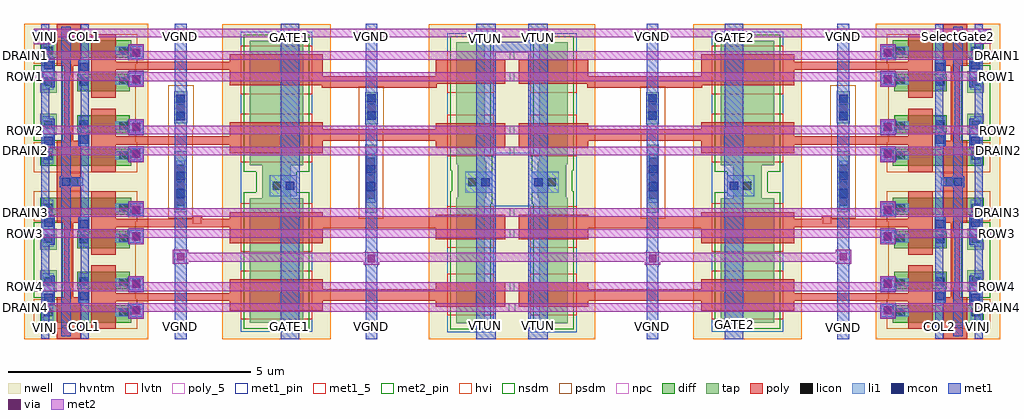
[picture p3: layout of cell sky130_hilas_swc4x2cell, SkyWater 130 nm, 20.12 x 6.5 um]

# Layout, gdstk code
from math import pi, radians
import gdstk
lib = gdstk.Library(unit=1e-6, precision=1e-09)
def R(c, l, rs):  # rectangles x0, y0, x1, y1
    for r in rs: c.add(gdstk.rectangle(r[:2], r[2:], *l))
def A(c, l, x, y, w, h, nx, ny, dx, dy):  # array of equal rectangles
    R(c, l, [(x+i*dx, y+j*dy, x+i*dx+w, y+j*dy+h) for i in range(nx) for j in range(ny)])
nwell = (64, 20)
diff = (65, 20)
tap = (65, 44)
poly_5 = (66, 5)
poly = (66, 20)
licon = (66, 44)
li1 = (67, 20)
mcon = (67, 44)
met1_5 = (68, 5)
met1_pin = (68, 16)
met1 = (68, 20)
via = (68, 44)
met2_pin = (69, 16)
met2 = (69, 20)
hvi = (75, 20)
nsdm = (93, 44)
psdm = (94, 20)
npc = (95, 20)
hvntm = (125, 20)
lvtn = (125, 44)

sky130_hilas_tuncap01 = lib.new_cell('sky130_hilas_TunCap01')
R(sky130_hilas_tuncap01, nwell, [(-14.51,-4,-12.78,-2.1)])
R(sky130_hilas_tuncap01, tap, [(-13.94,-3.67,-13.35,-2.47)])
R(sky130_hilas_tuncap01, poly, [(-14.36,-3.33,-12.93,-2.83)])
R(sky130_hilas_tuncap01, hvi, [(-14.51,-4,-12.78,-2.1)])
R(sky130_hilas_tuncap01, nsdm, [(-14.065,-3.795,-13.225,-2.345)])
R(sky130_hilas_tuncap01, hvntm, [(-14.125,-3.855,-13.165,-2.285)])
R(sky130_hilas_tuncap01, lvtn, [(-14.12,-3.51,-13.17,-2.65)])

sky130_hilas_fgvaractorc = lib.new_cell('sky130_hilas_FGVaractorCapacitor')
R(sky130_hilas_fgvaractorc, nwell, [(-9.57,-3.95,-7.34,-2.1)])
R(sky130_hilas_fgvaractorc, tap, [(-9.01,-3.61,-7.9,-2.44)])
R(sky130_hilas_fgvaractorc, poly, [(-9.41,-3.36,-7.49,-2.72)])
R(sky130_hilas_fgvaractorc, met1, [(-8.92,-3.95,-8.54,-2.09)])
R(sky130_hilas_fgvaractorc, hvi, [(-9.57,-3.95,-7.34,-2.1)])
R(sky130_hilas_fgvaractorc, nsdm, [(-9.135,-3.735,-7.775,-2.315)])
R(sky130_hilas_fgvaractorc, hvntm, [(-9.195,-3.795,-7.715,-2.255)])
R(sky130_hilas_fgvaractorc, lvtn, [(-9.19,-3.54,-7.72,-2.54)])

sky130_hilas_li2m2 = lib.new_cell('sky130_hilas_li2m2')
R(sky130_hilas_li2m2, li1, [(-0.13,-0.12,0.19,-0.09), (-0.13,-0.09,0.2,0.1), (-0.13,0.1,0.19,0.14)])
R(sky130_hilas_li2m2, mcon, [(-0.07,-0.08,0.1,0.09)])
R(sky130_hilas_li2m2, met1, [(-0.14,-0.15,0.18,0.17)])
R(sky130_hilas_li2m2, via, [(-0.055,-0.065,0.095,0.085)])
R(sky130_hilas_li2m2, met2, [(-0.14,-0.15,0.17,0.18)])

sky130_hilas_horizpcell0 = lib.new_cell('sky130_hilas_horizPcell01')
R(sky130_hilas_horizpcell0, nwell, [(-2.89,0.41,-0.33,2.32)])
R(sky130_hilas_horizpcell0, diff, [(-2.54,0.75,-0.66,1.11), (-2.51,1.44,-1.43,1.8)])
R(sky130_hilas_horizpcell0, tap, [(-1,1.39,-0.66,1.83)])
R(sky130_hilas_horizpcell0, poly, [(-1.5,0.42,-1,1.27), (-2.22,0.62,-1.72,1.19), (-2.89,1.19,-1.72,1.36), (-1.35,1.27,-1.16,2.05), (-2.22,1.36,-1.72,1.93)])
R(sky130_hilas_horizpcell0, licon, [(-2.465,0.88,-2.295,1.05), (-0.915,0.88,-0.745,1.05), (-2.465,1.5,-2.295,1.67), (-0.915,1.515,-0.745,1.685), (-1.65,1.52,-1.48,1.69)])
R(sky130_hilas_horizpcell0, li1, [(-0.93,0.8,-0.73,1.15), (-2.55,0.88,-2.21,1.05), (-0.93,1.15,-0.72,1.18), (-1.66,1.17,-1.46,1.77), (-0.94,1.18,-0.72,1.77), (-2.55,1.5,-2.21,1.67)])
R(sky130_hilas_horizpcell0, mcon, [(-0.92,1.18,-0.75,1.35), (-1.65,1.21,-1.48,1.38)])
R(sky130_hilas_horizpcell0, met1, [(-1.66,0.42,-1.5,1.15), (-0.85,0.42,-0.69,1.12), (-1.29,0.47,-1.1,1.46), (-0.96,1.12,-0.69,1.67), (-1.66,1.15,-1.46,1.17), (-1.68,1.17,-1.45,1.41), (-1.66,1.41,-1.45,1.46), (-1.66,1.46,-1.5,2.32), (-1.27,1.46,-1.1,1.58), (-1.26,1.58,-1.1,2.32), (-0.96,1.67,-0.68,1.72), (-0.85,1.72,-0.68,1.81), (-0.85,1.81,-0.69,2.32)])
R(sky130_hilas_horizpcell0, met2, [(-2.51,0.97,-0.33,1.15), (-2.89,1.4,-2.8,1.58), (-2.5,1.4,-0.33,1.58)])
R(sky130_hilas_horizpcell0, hvi, [(-2.89,0.41,-0.33,2.32)])
R(sky130_hilas_horizpcell0, nsdm, [(-1.125,1.265,-0.535,1.955)])
R(sky130_hilas_horizpcell0, psdm, [(-2.665,0.625,-0.535,1.235), (-2.635,1.235,-1.305,1.925)])
sky130_hilas_horizpcell0.add(gdstk.Reference(sky130_hilas_li2m2, (-2.66,1.56), x_reflection=True))
sky130_hilas_horizpcell0.add(gdstk.Reference(sky130_hilas_li2m2, (-2.66,1.01), x_reflection=True))

sky130_hilas_wellcontact = lib.new_cell('sky130_hilas_wellContact')
R(sky130_hilas_wellcontact, nwell, [(-14.48,-4.4,-12.75,-2.56)])
R(sky130_hilas_wellcontact, tap, [(-13.94,-4.05,-13.35,-3.31)])
R(sky130_hilas_wellcontact, licon, [(-13.735,-3.82,-13.565,-3.65)])
R(sky130_hilas_wellcontact, li1, [(-14.06,-3.95,-13.51,-3.52)])
R(sky130_hilas_wellcontact, mcon, [(-14.01,-3.82,-13.84,-3.65)])
R(sky130_hilas_wellcontact, met1, [(-14.12,-4.41,-13.73,-2.55)])
R(sky130_hilas_wellcontact, hvi, [(-14.48,-4.4,-12.75,-2.56)])
R(sky130_hilas_wellcontact, nsdm, [(-14.065,-4.175,-13.225,-3.185)])

sky130_hilas_cellattempt = lib.new_cell('sky130_hilas_cellAttempt01')
R(sky130_hilas_cellattempt, nwell, [(1.68,-2.53,2.79,-2.26), (-2.06,-2.51,-1.47,-2.32), (6.32,-0.88,6.49,-0.72), (6.66,-0.88,6.67,-0.72), (6.32,-0.72,6.67,-0.71), (1.68,0.71,2.79,0.94), (-2.06,0.77,-1.47,0.88), (-2.63,1.12,-2.56,1.3)])
R(sky130_hilas_cellattempt, tap, [(1.68,-2.53,2.79,-2.26), (-2.06,-2.51,-1.47,-2.32), (0.16,-1.43,0.41,-0.03), (4.09,-1.42,4.34,-0.17), (0.15,0.39,0.41,1.05), (4.07,0.41,4.34,1.07), (1.68,0.71,2.79,0.94), (-2.06,0.77,-1.47,0.88)])
R(sky130_hilas_cellattempt, poly_5, [(3.79,-1.66,3.96,-1.51)])
R(sky130_hilas_cellattempt, poly, [(-1.05,-3.25,1.28,-3.01), (3.2,-3.25,4.89,-3.09), (-1.07,-1.75,1.3,-1.51), (3.2,-1.73,4.88,-1.56), (3.77,-1.56,3.97,-1.5), (6.32,-0.88,6.49,-0.72), (6.65,-0.88,6.67,-0.72), (6.32,-0.72,6.67,-0.71), (3.19,-0.03,4.88,0.14), (-1.07,0.05,1.28,0.29), (-1.07,1.14,1.3,1.38), (3.2,1.51,4.88,1.68)])
A(sky130_hilas_cellattempt, licon, 4.13, -1.29, 0.17, 0.17, 1, 3, 0, 0.34)
A(sky130_hilas_cellattempt, licon, 0.2, -1.15, 0.17, 0.17, 1, 3, 0, 0.34)
R(sky130_hilas_cellattempt, licon, [(6.32,-0.88,6.49,-0.71), (4.13,0.64,4.3,0.81), (0.19,0.65,0.36,0.82)])
R(sky130_hilas_cellattempt, li1, [(4.13,-1.37,4.3,-0.36), (0.2,-1.23,0.37,-0.22), (6.23,-0.88,6.67,-0.71), (4.13,0.47,4.3,1), (0.19,0.48,0.36,1.01)])
R(sky130_hilas_cellattempt, mcon, [(4.13,-1.12,4.3,-0.95), (0.2,-0.98,0.37,-0.81), (6.495,-0.88,6.665,-0.71), (4.13,-0.76,4.3,-0.59), (0.2,-0.62,0.37,-0.45), (4.13,0.47,4.3,0.64), (0.19,0.48,0.36,0.65), (4.13,0.83,4.3,1), (0.19,0.84,0.36,1.01)])
R(sky130_hilas_cellattempt, met1_pin, [(0.16,-3.82,0.4,-3.76), (1.77,-3.82,2.15,-3.73), (4.09,-3.82,4.33,-3.76), (-2.28,2.11,-1.88,2.23), (1.77,2.13,2.15,2.23), (0.16,2.18,0.4,2.23), (4.09,2.18,4.33,2.23), (6.48,2.18,6.67,2.23), (6.92,2.18,7.08,2.23), (6.11,2.19,6.27,2.23)])
R(sky130_hilas_cellattempt, met1, [(-2.28,-4.04,-1.88,2.46), (0.16,-4.04,0.4,-2.54), (1.77,-4.04,2.15,-3.44), (4.09,-4.04,4.33,-2.5), (0.15,-2.54,0.41,-2.22), (4.08,-2.5,4.34,-2.18), (0.16,-2.22,0.4,0.39), (4.09,-2.18,4.33,0.41), (6.56,-0.95,6.67,-0.91), (6.46,-0.91,6.7,-0.89), (6.26,-0.89,6.7,-0.7), (6.46,-0.7,6.7,-0.68), (6.54,-0.68,6.67,-0.66), (0.15,0.39,0.41,1.05), (4.07,0.41,4.34,1.07), (0.16,1.05,0.4,2.46), (4.09,1.07,4.33,2.46), (1.77,2.13,2.15,2.46), (6.48,2.18,6.67,2.23), (6.92,2.18,7.08,2.23), (6.11,2.19,6.27,2.23)])
R(sky130_hilas_cellattempt, via, [(0.205,-2.455,0.355,-2.305), (4.135,-2.415,4.285,-2.265)])
R(sky130_hilas_cellattempt, met2_pin, [(-2.63,-3.47,-2.55,-3.3), (-2.63,-3.05,-2.57,-2.87), (-2.63,-1.95,-2.57,-1.77), (-2.63,-1.52,-2.57,-1.34), (-2.63,-0.25,-2.57,-0.07), (-2.63,0.18,-2.57,0.36), (-2.63,1.28,-2.57,1.46), (-2.63,1.72,-2.57,1.9)])
R(sky130_hilas_cellattempt, met2, [(-2.63,-3.47,4.97,-3.3), (-2.63,-3.05,4.99,-2.87), (0.12,-2.51,0.44,-2.44), (4.05,-2.49,4.37,-2.44), (0.12,-2.44,4.37,-2.26), (0.12,-2.26,0.44,-2.25), (4.05,-2.26,4.37,-2.2), (-2.63,-1.95,5,-1.77), (-2.63,-1.52,4.99,-1.34), (-2.63,-0.25,5,-0.07), (-2.63,0.18,5,0.36), (-2.63,1.28,5,1.46), (-2.63,1.72,5,1.9)])
R(sky130_hilas_cellattempt, hvi, [(-2.245,-2.835,-1.285,-1.995), (1.495,-2.815,2.975,-1.975), (-2.245,0.405,-1.285,1.245), (1.495,0.405,2.975,1.245)])
R(sky130_hilas_cellattempt, nsdm, [(1.555,-2.655,2.915,-2.135), (-2.185,-2.635,-1.345,-2.195), (6.645,-2.495,7.235,-2.325), (1.555,0.585,2.915,1.065), (-2.185,0.645,-1.345,1.005), (6.645,0.735,7.235,0.915)])
R(sky130_hilas_cellattempt, psdm, [(5.135,-2.525,6.465,-2.295), (0.035,-1.555,0.535,0.265), (3.965,-1.545,4.465,0.285), (0.025,0.265,0.535,1.175), (3.945,0.285,4.465,1.195), (5.135,0.705,6.465,0.945)])
R(sky130_hilas_cellattempt, npc, [(6.22,-0.98,6.59,-0.61)])
R(sky130_hilas_cellattempt, hvntm, [(-2.275,-1.305,-2.245,-0.935), (1.495,-0.955,2.975,-0.645), (-2.275,-0.935,-1.285,-0.615), (-2.275,-0.615,-2.245,-0.195)])
sky130_hilas_cellattempt.add(gdstk.Reference(sky130_hilas_tuncap01, (11.88,-0.04)))
sky130_hilas_cellattempt.add(gdstk.Reference(sky130_hilas_tuncap01, (11.88,1.35)))
sky130_hilas_cellattempt.add(gdstk.Reference(sky130_hilas_fgvaractorc, (10.69,-0.09)))
sky130_hilas_cellattempt.add(gdstk.Reference(sky130_hilas_fgvaractorc, (10.69,1.3)))
sky130_hilas_cellattempt.add(gdstk.Reference(sky130_hilas_horizpcell0, (7.77,-4.45)))
sky130_hilas_cellattempt.add(gdstk.Reference(sky130_hilas_horizpcell0, (7.77,-0.37), x_reflection=True))
sky130_hilas_cellattempt.add(gdstk.Reference(sky130_hilas_tuncap01, (11.88,3.24)))
sky130_hilas_cellattempt.add(gdstk.Reference(sky130_hilas_wellcontact, (11.85,2.93)))
sky130_hilas_cellattempt.add(gdstk.Reference(sky130_hilas_fgvaractorc, (10.69,3.15)))
sky130_hilas_cellattempt.add(gdstk.Reference(sky130_hilas_wellcontact, (15.88,2.86)))
sky130_hilas_cellattempt.add(gdstk.Reference(sky130_hilas_horizpcell0, (7.77,-1.22)))
sky130_hilas_cellattempt.add(gdstk.Reference(sky130_hilas_tuncap01, (11.88,4.55)))
sky130_hilas_cellattempt.add(gdstk.Reference(sky130_hilas_fgvaractorc, (10.69,4.55)))
sky130_hilas_cellattempt.add(gdstk.Reference(sky130_hilas_horizpcell0, (7.77,2.87), x_reflection=True))
sky130_hilas_cellattempt.add(gdstk.Label('FG3', (3.875,-1.585), layer=66, texttype=5))
sky130_hilas_cellattempt.add(gdstk.Label('VTUN', (-2.08,2.17), layer=68, texttype=16))
sky130_hilas_cellattempt.add(gdstk.Label('VINJ', (7,2.205), layer=68, texttype=16))
sky130_hilas_cellattempt.add(gdstk.Label('COLSEL1', (6.575,2.205), layer=68, texttype=16))
sky130_hilas_cellattempt.add(gdstk.Label('COL1', (6.19,2.21), layer=68, texttype=16))
sky130_hilas_cellattempt.add(gdstk.Label('GATE1', (1.96,2.18), layer=68, texttype=16))
sky130_hilas_cellattempt.add(gdstk.Label('GATE1', (1.96,-3.775), layer=68, texttype=16))
sky130_hilas_cellattempt.add(gdstk.Label('ROW4', (-2.6,-2.96), layer=69, texttype=16))
sky130_hilas_cellattempt.add(gdstk.Label('VGND', (0.28,2.205), layer=68, texttype=16))
sky130_hilas_cellattempt.add(gdstk.Label('VGND', (4.21,2.205), layer=68, texttype=16))
sky130_hilas_cellattempt.add(gdstk.Label('VGND', (4.21,-3.79), layer=68, texttype=16))
sky130_hilas_cellattempt.add(gdstk.Label('VGND', (0.28,-3.79), layer=68, texttype=16))
sky130_hilas_cellattempt.add(gdstk.Label('DRAIN4', (-2.59,-3.385), layer=69, texttype=16))
sky130_hilas_cellattempt.add(gdstk.Label('DRAIN1', (-2.6,1.81), layer=69, texttype=16))
sky130_hilas_cellattempt.add(gdstk.Label('ROW1', (-2.6,1.37), layer=69, texttype=16))
sky130_hilas_cellattempt.add(gdstk.Label('ROW3', (-2.6,-1.86), layer=69, texttype=16))
sky130_hilas_cellattempt.add(gdstk.Label('DRAIN3', (-2.6,-1.43), layer=69, texttype=16))
sky130_hilas_cellattempt.add(gdstk.Label('DRAIN2', (-2.6,-0.16), layer=69, texttype=16))
sky130_hilas_cellattempt.add(gdstk.Label('ROW2', (-2.6,0.27), layer=69, texttype=16))

sky130_hilas_swc4x2cell = lib.new_cell('sky130_hilas_swc4x2cell')
R(sky130_hilas_swc4x2cell, nwell, [(-10.04,3.53,-9.97,3.65), (-10.04,3.65,-9.91,3.71), (9.8,5.83,9.89,6.13)])
R(sky130_hilas_swc4x2cell, met1_5, [(9.12,5.96,9.31,6.01)])
R(sky130_hilas_swc4x2cell, met1_pin, [(-9.68,-0.04,-9.52,0.02), (-6.93,-0.04,-6.69,0.04), (-4.75,-0.04,-4.37,0.05), (-3,-0.04,-2.76,0.03), (-0.72,-0.04,-0.32,0.08), (0.36,-0.04,0.76,0.08), (2.8,-0.04,3.04,0.03), (4.41,-0.04,4.79,0.11), (6.73,-0.04,6.97,0.02), (-9.27,-0.03,-9.08,0.03), (-8.87,-0.03,-8.71,0.03), (8.75,-0.03,8.91,0.03), (9.12,-0.03,9.31,0.03), (9.56,-0.03,9.72,0.03), (-0.72,5.88,-0.32,6.01), (-4.75,5.91,-4.37,6.01), (0.36,5.91,0.76,6.01), (4.41,5.91,4.79,6.01), (6.73,5.94,6.97,6.01), (-6.93,5.95,-6.69,6.01), (-3,5.95,-2.76,6.01), (-9.68,5.96,-9.52,6.01), (-9.27,5.96,-9.08,6.01), (-8.87,5.96,-8.71,6.01), (2.8,5.96,3.04,6.01), (8.75,5.96,8.91,6.01), (9.56,5.96,9.72,6.01)])
R(sky130_hilas_swc4x2cell, met1, [(-9.68,-0.04,-9.52,0.02), (-6.93,-0.04,-6.69,0.04), (-4.75,-0.04,-4.37,0.05), (-3,-0.04,-2.76,0.03), (-0.72,-0.04,-0.32,0.08), (0.36,-0.04,0.76,0.08), (2.8,-0.04,3.04,0.03), (4.41,-0.04,4.79,0.11), (6.73,-0.04,6.97,0.02), (-9.27,-0.03,-9.08,0.03), (-8.87,-0.03,-8.71,0.03), (8.75,-0.03,8.91,0.03), (9.12,-0.03,9.31,0.03), (9.56,-0.03,9.72,0.03), (-0.32,5.65,0.36,5.87), (-9.68,5.67,-9.52,5.82), (9.56,5.67,9.72,5.84), (-9.84,5.82,-9.52,5.97), (9.56,5.84,9.89,6.01), (-0.72,5.88,-0.32,6.01), (-4.75,5.91,-4.37,6.01), (0.36,5.91,0.76,6.01), (4.41,5.91,4.79,6.01), (-6.93,5.92,-6.69,6.01), (6.73,5.94,6.97,6.01), (-3,5.95,-2.76,6.01), (-9.27,5.96,-9.08,6.01), (-8.87,5.96,-8.71,6.01), (2.8,5.96,3.04,6.01), (8.75,5.96,8.91,6.01), (9.12,5.96,9.31,6.01), (-9.83,5.97,-9.52,6.11), (9.57,6.01,9.89,6.12)])
R(sky130_hilas_swc4x2cell, via, [(-9.745,5.895,-9.595,6.045), (9.655,5.905,9.805,6.055)])
R(sky130_hilas_swc4x2cell, met2_pin, [(-10.04,0.3,-9.97,0.48), (9.99,0.3,10.08,0.48), (-10.04,0.73,-9.97,0.91), (9.99,0.73,10.08,0.91), (-10.04,1.83,-9.97,2.01), (9.99,1.83,10.08,2.01), (-10.04,2.26,-9.97,2.44), (9.99,2.26,10.08,2.44), (-10.04,3.53,-9.97,3.71), (10.02,3.53,10.08,3.71), (-10.04,3.96,-9.98,4.14), (10.02,3.96,10.08,4.14), (-10.04,5.07,-9.97,5.25), (9.99,5.07,10.08,5.25), (-10.04,5.5,-9.98,5.68), (9.99,5.5,10.08,5.68)])
R(sky130_hilas_swc4x2cell, met2, [(-10.04,0.3,-9.97,0.48), (9.99,0.3,10.08,0.48), (-10.04,0.73,-9.97,0.91), (9.99,0.73,10.08,0.91), (-3.34,1.34,3.42,1.52), (-10.04,1.83,-9.97,2.01), (9.99,1.83,10.08,2.01), (-10.04,2.26,-9.97,2.44), (9.99,2.26,10.08,2.44), (-10.04,3.53,-9.91,3.71), (10.02,3.53,10.08,3.71), (-10.04,3.96,-9.98,4.14), (10.02,3.96,10.08,4.14), (-10.04,5.07,-9.97,5.25), (9.99,5.07,10.08,5.25), (-10.04,5.5,-9.98,5.68), (9.99,5.5,10.08,5.68), (-9.84,5.82,-9.42,5.96), (9.56,5.83,9.9,5.96), (-9.84,5.96,9.9,6.14)])
R(sky130_hilas_swc4x2cell, hvntm, [(-0.325,2.475,0.365,3.585)])
sky130_hilas_swc4x2cell.add(gdstk.Reference(sky130_hilas_cellattempt, (-2.6,3.78), rotation=pi, x_reflection=True))
sky130_hilas_swc4x2cell.add(gdstk.Reference(sky130_hilas_cellattempt, (2.64,3.78)))
sky130_hilas_swc4x2cell.add(gdstk.Label('SelectGate2', (9.215,5.985), layer=68, texttype=5))
sky130_hilas_swc4x2cell.add(gdstk.Label('GATE2', (4.6,5.96), layer=68, texttype=16))
sky130_hilas_swc4x2cell.add(gdstk.Label('GATE2', (4.6,0.035), layer=68, texttype=16))
sky130_hilas_swc4x2cell.add(gdstk.Label('VTUN', (-0.52,0.02), layer=68, texttype=16))
sky130_hilas_swc4x2cell.add(gdstk.Label('VTUN', (0.56,0.02), layer=68, texttype=16))
sky130_hilas_swc4x2cell.add(gdstk.Label('VTUN', (0.56,5.96), layer=68, texttype=16))
sky130_hilas_swc4x2cell.add(gdstk.Label('VTUN', (-0.52,5.945), layer=68, texttype=16))
sky130_hilas_swc4x2cell.add(gdstk.Label('GATE1', (-4.56,5.96), layer=68, texttype=16))
sky130_hilas_swc4x2cell.add(gdstk.Label('GATE1', (-4.56,0.005), layer=68, texttype=16))
sky130_hilas_swc4x2cell.add(gdstk.Label('VINJ', (9.64,0), layer=68, texttype=16))
sky130_hilas_swc4x2cell.add(gdstk.Label('VINJ', (9.64,5.985), layer=68, texttype=16))
sky130_hilas_swc4x2cell.add(gdstk.Label('VINJ', (-9.6,5.985), layer=68, texttype=16))
sky130_hilas_swc4x2cell.add(gdstk.Label('VINJ', (-9.6,-0.01), layer=68, texttype=16))
sky130_hilas_swc4x2cell.add(gdstk.Label('GATESELECT1', (-9.175,5.985), layer=68, texttype=16))
sky130_hilas_swc4x2cell.add(gdstk.Label('GATESELECT1', (-9.175,0), layer=68, texttype=16))
sky130_hilas_swc4x2cell.add(gdstk.Label('GATESELECT2', (9.215,0), layer=68, texttype=16))
sky130_hilas_swc4x2cell.add(gdstk.Label('COL1', (-8.79,5.985), layer=68, texttype=16))
sky130_hilas_swc4x2cell.add(gdstk.Label('COL1', (-8.79,0), layer=68, texttype=16))
sky130_hilas_swc4x2cell.add(gdstk.Label('COL2', (8.83,0), layer=68, texttype=16))
sky130_hilas_swc4x2cell.add(gdstk.Label('COL2', (8.83,5.985), layer=68, texttype=16))
sky130_hilas_swc4x2cell.add(gdstk.Label('ROW1', (-10.005,5.16), layer=69, texttype=16))
sky130_hilas_swc4x2cell.add(gdstk.Label('ROW1', (10.035,5.16), layer=69, texttype=16))
sky130_hilas_swc4x2cell.add(gdstk.Label('ROW2', (-10.01,4.05), layer=69, texttype=16))
sky130_hilas_swc4x2cell.add(gdstk.Label('ROW2', (10.05,4.05), layer=69, texttype=16))
sky130_hilas_swc4x2cell.add(gdstk.Label('DRAIN1', (-10.01,5.59), layer=69, texttype=16))
sky130_hilas_swc4x2cell.add(gdstk.Label('DRAIN1', (10.035,5.59), layer=69, texttype=16))
sky130_hilas_swc4x2cell.add(gdstk.Label('DRAIN2', (-10.005,3.62), layer=69, texttype=16))
sky130_hilas_swc4x2cell.add(gdstk.Label('DRAIN2', (10.05,3.62), layer=69, texttype=16))
sky130_hilas_swc4x2cell.add(gdstk.Label('DRAIN3', (-10.005,2.35), layer=69, texttype=16))
sky130_hilas_swc4x2cell.add(gdstk.Label('DRAIN3', (10.035,2.35), layer=69, texttype=16))
sky130_hilas_swc4x2cell.add(gdstk.Label('ROW3', (-10.005,1.92), layer=69, texttype=16))
sky130_hilas_swc4x2cell.add(gdstk.Label('ROW3', (10.035,1.92), layer=69, texttype=16))
sky130_hilas_swc4x2cell.add(gdstk.Label('ROW4', (-10.005,0.82), layer=69, texttype=16))
sky130_hilas_swc4x2cell.add(gdstk.Label('ROW4', (10.035,0.82), layer=69, texttype=16))
sky130_hilas_swc4x2cell.add(gdstk.Label('DRAIN4', (-10.005,0.39), layer=69, texttype=16))
sky130_hilas_swc4x2cell.add(gdstk.Label('DRAIN4', (10.035,0.39), layer=69, texttype=16))
sky130_hilas_swc4x2cell.add(gdstk.Label('VGND', (-6.81,5.98), layer=68, texttype=16))
sky130_hilas_swc4x2cell.add(gdstk.Label('VGND', (-6.81,0), layer=68, texttype=16))
sky130_hilas_swc4x2cell.add(gdstk.Label('VGND', (-2.88,-0.005), layer=68, texttype=16))
sky130_hilas_swc4x2cell.add(gdstk.Label('VGND', (-2.88,5.98), layer=68, texttype=16))
sky130_hilas_swc4x2cell.add(gdstk.Label('VGND', (2.92,-0.005), layer=68, texttype=16))
sky130_hilas_swc4x2cell.add(gdstk.Label('VGND', (6.85,-0.01), layer=68, texttype=16))
sky130_hilas_swc4x2cell.add(gdstk.Label('VGND', (2.92,5.985), layer=68, texttype=16))
sky130_hilas_swc4x2cell.add(gdstk.Label('VGND', (6.85,5.975), layer=68, texttype=16))

lib.write_gds('sky130_hilas_swc4x2cell.gds')
